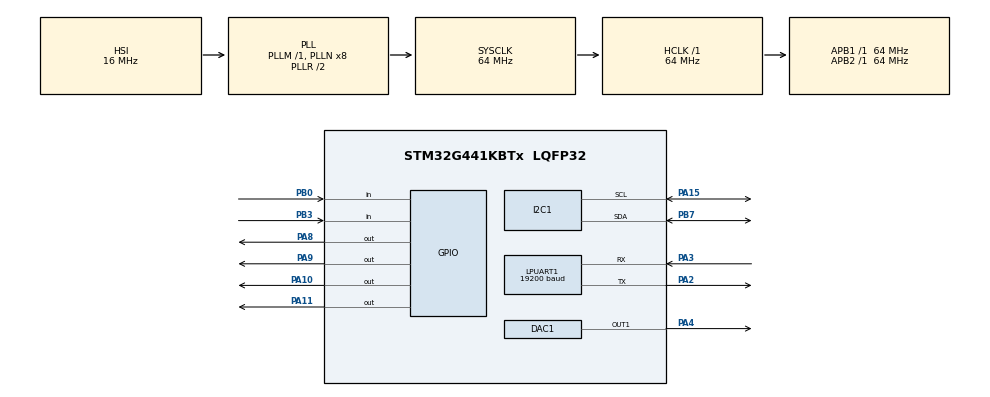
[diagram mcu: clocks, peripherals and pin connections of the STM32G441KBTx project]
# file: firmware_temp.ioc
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DAC1.DAC_HighFrequency_OUT1-DAC_OUT1=DAC_HIGH_FREQUENCY_INTERFACE_MODE_DISABLE
I2C1.Timing=0x10707DBC
LPUART1.BaudRate=19200
Mcu.Family=STM32G4
Mcu.Name=STM32G441KBTx
Mcu.Package=LQFP32
NVIC.PriorityGroup=NVIC_PRIORITYGROUP_4
NVIC.TIM2_IRQn=true\:0\:0\:false\:false\:true\:true\:true\:true
NVIC.TIM4_IRQn=true\:0\:0\:false\:false\:true\:true\:true\:true
NVIC.TIM7_IRQn=true\:0\:0\:false\:false\:true\:true\:true\:true
PA10.Signal=GPIO_Output
PA11.Signal=GPIO_Output
PA15.GPIO_Pu=GPIO_PULLUP
PA15.Mode=I2C
PA15.Signal=I2C1_SCL
PA2.GPIO_PuPd=GPIO_PULLUP
PA2.Mode=Asynchronous
PA2.Signal=LPUART1_TX
PA3.GPIO_PuPd=GPIO_PULLUP
PA3.Mode=Asynchronous
PA3.Signal=LPUART1_RX
PA4.Signal=COMP_DAC11_group
PA8.Signal=GPIO_Output
PA9.Signal=GPIO_Output
PB0.Signal=GPIO_Input
PB3.Signal=GPIO_Input
PB7.GPIO_Pu=GPIO_PULLUP
PB7.Mode=I2C
PB7.Signal=I2C1_SDA
ProjectManager.HeapSize=0x200
ProjectManager.StackSize=0x400
ProjectManager.TargetToolchain=STM32CubeIDE
RCC.ADC12Freq_Value=64000000
RCC.AHBFreq_Value=64000000
RCC.APB1Freq_Value=64000000
RCC.APB1TimFreq_Value=64000000
RCC.APB2Freq_Value=64000000
RCC.APB2TimFreq_Value=64000000
RCC.CortexFreq_Value=64000000
RCC.EXTERNAL_CLOCK_VALUE=12288000
RCC.HCLKFreq_Value=64000000
RCC.HSE_VALUE=8000000
RCC.HSI48_VALUE=48000000
RCC.HSI_VALUE=16000000
RCC.LSE_VALUE=32768
RCC.SYSCLKFreq_VALUE=64000000
RCC.SYSCLKSource=RCC_SYSCLKSOURCE_PLLCLK
RCC.USBFreq_Value=64000000
RCC.VCOOutputFreq_Value=128000000
SH.COMP_DAC11_group.0=DAC1_OUT1,DAC_OUT1
TIM2.CounterMode=TIM_COUNTERMODE_UP
TIM2.PeriodNoDither=255
TIM2.Prescaler=1
TIM2.TIM_MasterOutputTrigger=TIM_TRGO_UPDATE
TIM4.PeriodNoDither=7500
TIM4.Prescaler=1000
TIM7.PeriodNoDither=7200
TIM7.Prescaler=1000
VP_TIM2_VS_ClockSourceINT.Mode=Internal
VP_TIM4_VS_ClockSourceINT.Mode=Internal
VP_TIM7_VS_ClockSourceINT.Mode=Enable_Timer
board=custom

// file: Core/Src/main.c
/* USER CODE BEGIN Header */
/**
  ******************************************************************************
  * @file           : main.c
  * @brief          : Main program body
  ******************************************************************************
  * @attention
  *
  * Copyright (c) 2023 STMicroelectronics.
  * All rights reserved.
  *
  * This software is licensed under terms that can be found in the LICENSE file
  * in the root directory of this software component.
  * If no LICENSE file comes with this software, it is provided AS-IS.
  *
  ******************************************************************************
  */
/* USER CODE END Header */
#include "main.h"

/* USER CODE BEGIN Includes */
#include "accelerometer.h"
#include <stdio.h>
#include <math.h>
/* USER CODE END Includes */

/* USER CODE BEGIN PD */
//SINE WAVE START
#define PI 3.14159f
#define F_SAMPLE			50000.0f
#define F_OUT				1000.0f
//SINE WAVE END

/* USER CODE END PD */

DAC_HandleTypeDef hdac1;

I2C_HandleTypeDef hi2c1;

UART_HandleTypeDef hlpuart1;

TIM_HandleTypeDef htim2;
TIM_HandleTypeDef htim4;
TIM_HandleTypeDef htim7;

/* USER CODE BEGIN PV */
static volatile struct accelerometer_t xl_r = {.slave_r_addr = ACC0_R_ADDR, .slave_w_addr = ACC0_W_ADDR, .irq_pin = GPIO_PIN_0};
static volatile struct accelerometer_t xl_l = {.slave_r_addr = ACC1_R_ADDR, .slave_w_addr = ACC1_W_ADDR, .irq_pin = GPIO_PIN_1};
static volatile HAL_StatusTypeDef status;

/* USER CODE END PV */

void SystemClock_Config(void);
static void MX_GPIO_Init(void);
static void MX_DAC1_Init(void);
static void MX_I2C1_Init(void);
static void MX_LPUART1_UART_Init(void);
static void MX_TIM2_Init(void);
static void MX_TIM7_Init(void);
static void MX_TIM4_Init(void);
/* USER CODE BEGIN PFP */
//SINE WAVE START
float mySinVal;
float offset;
float sample_dt;
uint16_t sample_N;
uint16_t i_t;
uint32_t myDacVal;
//SINE WAVE END

/* USER CODE END PFP */

/* USER CODE BEGIN 0 */
static volatile HAL_StatusTypeDef status;

int _write(int fd, char* ptr, int len) {
  HAL_UART_Transmit(&hlpuart1, (uint8_t *) ptr, len, HAL_MAX_DELAY);
  return len;
}
volatile int allow_hit_r;
volatile int allow_hit_l;
/* USER CODE END 0 */

int main(void)
{
  /* USER CODE BEGIN 1 */
	//SINE WAVE START
//	sample_dt = F_OUT/F_SAMPLE;
//	sample_N = F_SAMPLE/F_OUT;
	//SINE WAVE END
  /* USER CODE END 1 */

  /* MCU Configuration--------------------------------------------------------*/

  /* Reset of all peripherals, Initializes the Flash interface and the Systick. */
  HAL_Init();

  /* Configure the system clock */
  SystemClock_Config();

  /* Initialize all configured peripherals */
  MX_GPIO_Init();
  MX_DAC1_Init();
  MX_I2C1_Init();
  MX_LPUART1_UART_Init();
  MX_TIM2_Init();
  MX_TIM7_Init();
  MX_TIM4_Init();
  /* USER CODE BEGIN 2 */
  //SINE WAVE START
  HAL_DAC_Start(&hdac1,DAC_CHANNEL_1);
  //SINE WAVE END

//  HAL_TIM_Base_Start_IT(&htim2);

  uint8_t status_mlc1;
  uint16_t timer_val;

  acc_init(&xl_l);
  acc_init(&xl_r);

  HAL_GPIO_WritePin(GPIOA, GPIO_PIN_8, GPIO_PIN_RESET);
  HAL_GPIO_WritePin(GPIOA, GPIO_PIN_9, GPIO_PIN_RESET);
  HAL_GPIO_WritePin(GPIOA, GPIO_PIN_10, GPIO_PIN_RESET);
  HAL_GPIO_WritePin(GPIOA, GPIO_PIN_11, GPIO_PIN_RESET);

  status = accelerometer_read(&xl_r, WHO_AM_I, &status_mlc1);
  printf("ID: %d\r\n",status_mlc1);

  if (status != HAL_OK) printf("init error\r\n");
  allow_hit_r = 1;
  allow_hit_l = 1;

//  HAL_TIM_Base_Start_IT(&htim2);

  /* USER CODE END 2 */

  /* Infinite loop */
  /* USER CODE BEGIN WHILE */
  while (1)
  {

	if(xl_r.z_xlr < -0x2000 && allow_hit_r) // hit on right
	{
		if(xl_r.x_xlr < -0x100) // right
		{
			if(xl_r.y_xlr < -0x100) // right-up
			{
				if(allow_hit_r){
					HAL_GPIO_WritePin(GPIOA, GPIO_PIN_9, GPIO_PIN_SET);
				}
				printf("right-up\n\r");
				  HAL_TIM_Base_Start_IT(&htim4);
				allow_hit_r = 0;
			}
			if(xl_r.y_xlr > 0x100) // right-down
			{
				if(allow_hit_r){
					HAL_GPIO_WritePin(GPIOA, GPIO_PIN_8, GPIO_PIN_SET);
				}
				printf("right-down\n\r");
				  HAL_TIM_Base_Start_IT(&htim4);

				allow_hit_r = 0;
			}
		}

		if(xl_r.x_xlr > 0x00) // left
		{
			if(xl_r.y_xlr < 0x000) // left-up
			{
				if(allow_hit_r){
					HAL_GPIO_WritePin(GPIOA, GPIO_PIN_10, GPIO_PIN_SET);
				}
				printf("left-up\n\r");
				  HAL_TIM_Base_Start_IT(&htim4);
				allow_hit_r = 0;
			}
			if(xl_r.y_xlr > 0x100) // left-down
			{
				if(allow_hit_r){
					HAL_GPIO_WritePin(GPIOA, GPIO_PIN_11, GPIO_PIN_SET);
				}
				printf("left-down\n\r");
				  HAL_TIM_Base_Start_IT(&htim4);
				allow_hit_r = 0;
			}
		}
	}

	if(xl_l.z_xlr < -0x2000 && allow_hit_l) // hit on right
	{
		if(xl_l.x_xlr < -0x100) // right
		{
			if(xl_l.y_xlr < -0x100) // right-up
			{
				if(allow_hit_l){
					HAL_GPIO_WritePin(GPIOA, GPIO_PIN_9, GPIO_PIN_SET);
				}
				printf("left right-up\n\r");
				  HAL_TIM_Base_Start_IT(&htim7);
				allow_hit_l = 0;
			}
			if(xl_l.y_xlr > 0x100) // right-down
			{
				if(allow_hit_l){
					HAL_GPIO_WritePin(GPIOA, GPIO_PIN_8, GPIO_PIN_SET);
				}
				printf("left right-down\n\r");
				  HAL_TIM_Base_Start_IT(&htim7);
				allow_hit_l = 0;
			}
		}

		if(xl_l.x_xlr > 0x00) // left
		{
			if(xl_l.y_xlr < 0x0000) // left-up
			{
				if(allow_hit_l){
					HAL_GPIO_WritePin(GPIOA, GPIO_PIN_10, GPIO_PIN_SET);
				}
				printf("left left-up\n\r");
				  HAL_TIM_Base_Start_IT(&htim7);
				allow_hit_l = 0;
			}
			if(xl_l.y_xlr > 0x100) // left-down
			{
				if(allow_hit_l){
					HAL_GPIO_WritePin(GPIOA, GPIO_PIN_11, GPIO_PIN_SET);
				}
				printf("left left-down\n\r");
				  HAL_TIM_Base_Start_IT(&htim7);
				allow_hit_l = 0;

			}
		}
	}

	status = read_axis(&xl_r, ALL_AXIS);
	status = read_axis(&xl_l, ALL_AXIS);

//	printf("%d",xl_r.y_xlr);
//	printf("%d",xl_l.y_xlr);
//
//
//
//	  status = HAL_I2C_Mem_Read(&hi2c1, xl_r.slave_r_addr, OUTX_H_A, I2C_MEMADD_SIZE_8BIT, read_buffer, sizeof(read_buffer), HAL_MAX_DELAY);
//	  xl_r.x_xlr = *read_buffer << 8;
//	  status = HAL_I2C_Mem_Read(&hi2c1, xl_r.slave_r_addr, OUTX_L_A, I2C_MEMADD_SIZE_8BIT, read_buffer, sizeof(read_buffer), HAL_MAX_DELAY);
//	  xl_r.x_xlr = xl_r.x_xlr + *read_buffer;
//	  status = HAL_I2C_Mem_Read(&hi2c1, xl_r.slave_r_addr, OUTY_H_A, I2C_MEMADD_SIZE_8BIT, read_buffer, sizeof(read_buffer), HAL_MAX_DELAY);
//	  xl_r.y_xlr = *read_buffer << 8;
//	  status = HAL_I2C_Mem_Read(&hi2c1, xl_r.slave_r_addr, OUTY_L_A, I2C_MEMADD_SIZE_8BIT, read_buffer, sizeof(read_buffer), HAL_MAX_DELAY);
//	  xl_r.y_xlr = xl_r.y_xlr + *read_buffer;
//	  status = HAL_I2C_Mem_Read(&hi2c1, xl_r.slave_r_addr, OUTZ_H_A, I2C_MEMADD_SIZE_8BIT, read_buffer, sizeof(read_buffer), HAL_MAX_DELAY);
//	  xl_r.z_xlr = *read_buffer << 8;
//	  status = HAL_I2C_Mem_Read(&hi2c1, xl_r.slave_r_addr, OUTZ_L_A, I2C_MEMADD_SIZE_8BIT, read_buffer, sizeof(read_buffer), HAL_MAX_DELAY);
//	  xl_r.z_xlr = xl_r.z_xlr + *read_buffer;
//
//	  status = HAL_I2C_Mem_Read(&hi2c1, xl_l.slave_r_addr, OUTX_H_A, I2C_MEMADD_SIZE_8BIT, read_buffer, sizeof(read_buffer), HAL_MAX_DELAY);
//	  xl_l.x_xlr = *read_buffer << 8;
//	  status = HAL_I2C_Mem_Read(&hi2c1, xl_l.slave_r_addr, OUTX_L_A, I2C_MEMADD_SIZE_8BIT, read_buffer, sizeof(read_buffer), HAL_MAX_DELAY);
//	  xl_l.x_xlr = xl_l.x_xlr + *read_buffer;
//	  status = HAL_I2C_Mem_Read(&hi2c1, xl_l.slave_r_addr, OUTY_H_A, I2C_MEMADD_SIZE_8BIT, read_buffer, sizeof(read_buffer), HAL_MAX_DELAY);
//	  xl_l.y_xlr = *read_buffer << 8;
//	  status = HAL_I2C_Mem_Read(&hi2c1, xl_l.slave_r_addr, OUTY_L_A, I2C_MEMADD_SIZE_8BIT, read_buffer, sizeof(read_buffer), HAL_MAX_DELAY);
//	  xl_l.y_xlr = xl_l.y_xlr + *read_buffer;
//	  status = HAL_I2C_Mem_Read(&hi2c1, xl_l.slave_r_addr, OUTZ_H_A, I2C_MEMADD_SIZE_8BIT, read_buffer, sizeof(read_buffer), HAL_MAX_DELAY);
//	  xl_l.z_xlr = *read_buffer << 8;
//	  status = HAL_I2C_Mem_Read(&hi2c1, xl_l.slave_r_addr, OUTZ_L_A, I2C_MEMADD_SIZE_8BIT, read_buffer, sizeof(read_buffer), HAL_MAX_DELAY);
//	  xl_l.z_xlr = xl_l.z_xlr + *read_buffer;

    /* USER CODE END WHILE */

  }
}

void SystemClock_Config(void)
{
  RCC_OscInitTypeDef RCC_OscInitStruct = {0};
  RCC_ClkInitTypeDef RCC_ClkInitStruct = {0};

  /** Configure the main internal regulator output voltage
  */
  HAL_PWREx_ControlVoltageScaling(PWR_REGULATOR_VOLTAGE_SCALE1);

  /** Initializes the RCC Oscillators according to the specified parameters
  * in the RCC_OscInitTypeDef structure.
  */
  RCC_OscInitStruct.OscillatorType = RCC_OSCILLATORTYPE_HSI;
  RCC_OscInitStruct.HSIState = RCC_HSI_ON;
  RCC_OscInitStruct.HSICalibrationValue = RCC_HSICALIBRATION_DEFAULT;
  RCC_OscInitStruct.PLL.PLLState = RCC_PLL_ON;
  RCC_OscInitStruct.PLL.PLLSource = RCC_PLLSOURCE_HSI;
  RCC_OscInitStruct.PLL.PLLM = RCC_PLLM_DIV1;
  RCC_OscInitStruct.PLL.PLLN = 8;
  RCC_OscInitStruct.PLL.PLLP = RCC_PLLP_DIV2;
  RCC_OscInitStruct.PLL.PLLQ = RCC_PLLQ_DIV2;
  RCC_OscInitStruct.PLL.PLLR = RCC_PLLR_DIV2;
  if (HAL_RCC_OscConfig(&RCC_OscInitStruct) != HAL_OK)
  {
    Error_Handler();
  }

  /** Initializes the CPU, AHB and APB buses clocks
  */
  RCC_ClkInitStruct.ClockType = RCC_CLOCKTYPE_HCLK|RCC_CLOCKTYPE_SYSCLK
                              |RCC_CLOCKTYPE_PCLK1|RCC_CLOCKTYPE_PCLK2;
  RCC_ClkInitStruct.SYSCLKSource = RCC_SYSCLKSOURCE_PLLCLK;
  RCC_ClkInitStruct.AHBCLKDivider = RCC_SYSCLK_DIV1;
  RCC_ClkInitStruct.APB1CLKDivider = RCC_HCLK_DIV1;
  RCC_ClkInitStruct.APB2CLKDivider = RCC_HCLK_DIV1;

  if (HAL_RCC_ClockConfig(&RCC_ClkInitStruct, FLASH_LATENCY_2) != HAL_OK)
  {
    Error_Handler();
  }
}

static void MX_DAC1_Init(void)
{

  DAC_ChannelConfTypeDef sConfig = {0};

  /** DAC Initialization
  */
  hdac1.Instance = DAC1;
  if (HAL_DAC_Init(&hdac1) != HAL_OK)
  {
    Error_Handler();
  }

  /** DAC channel OUT1 config
  */
  sConfig.DAC_HighFrequency = DAC_HIGH_FREQUENCY_INTERFACE_MODE_DISABLE;
  sConfig.DAC_DMADoubleDataMode = DISABLE;
  sConfig.DAC_SignedFormat = DISABLE;
  sConfig.DAC_SampleAndHold = DAC_SAMPLEANDHOLD_DISABLE;
  sConfig.DAC_Trigger = DAC_TRIGGER_NONE;
  sConfig.DAC_Trigger2 = DAC_TRIGGER_NONE;
  sConfig.DAC_OutputBuffer = DAC_OUTPUTBUFFER_ENABLE;
  sConfig.DAC_ConnectOnChipPeripheral = DAC_CHIPCONNECT_EXTERNAL;
  sConfig.DAC_UserTrimming = DAC_TRIMMING_FACTORY;
  if (HAL_DAC_ConfigChannel(&hdac1, &sConfig, DAC_CHANNEL_1) != HAL_OK)
  {
    Error_Handler();
  }

}

static void MX_I2C1_Init(void)
{

  hi2c1.Instance = I2C1;
  hi2c1.Init.Timing = 0x10707DBC;
  hi2c1.Init.OwnAddress1 = 0;
  hi2c1.Init.AddressingMode = I2C_ADDRESSINGMODE_7BIT;
  hi2c1.Init.DualAddressMode = I2C_DUALADDRESS_DISABLE;
  hi2c1.Init.OwnAddress2 = 0;
  hi2c1.Init.OwnAddress2Masks = I2C_OA2_NOMASK;
  hi2c1.Init.GeneralCallMode = I2C_GENERALCALL_DISABLE;
  hi2c1.Init.NoStretchMode = I2C_NOSTRETCH_DISABLE;
  if (HAL_I2C_Init(&hi2c1) != HAL_OK)
  {
    Error_Handler();
  }

  /** Configure Analogue filter
  */
  if (HAL_I2CEx_ConfigAnalogFilter(&hi2c1, I2C_ANALOGFILTER_ENABLE) != HAL_OK)
  {
    Error_Handler();
  }

  /** Configure Digital filter
  */
  if (HAL_I2CEx_ConfigDigitalFilter(&hi2c1, 0) != HAL_OK)
  {
    Error_Handler();
  }

}

static void MX_LPUART1_UART_Init(void)
{

  hlpuart1.Instance = LPUART1;
  hlpuart1.Init.BaudRate = 19200;
  hlpuart1.Init.WordLength = UART_WORDLENGTH_8B;
  hlpuart1.Init.StopBits = UART_STOPBITS_1;
  hlpuart1.Init.Parity = UART_PARITY_NONE;
  hlpuart1.Init.Mode = UART_MODE_TX_RX;
  hlpuart1.Init.HwFlowCtl = UART_HWCONTROL_NONE;
  hlpuart1.Init.OneBitSampling = UART_ONE_BIT_SAMPLE_DISABLE;
  hlpuart1.Init.ClockPrescaler = UART_PRESCALER_DIV1;
  hlpuart1.AdvancedInit.AdvFeatureInit = UART_ADVFEATURE_NO_INIT;
  if (HAL_UART_Init(&hlpuart1) != HAL_OK)
  {
    Error_Handler();
  }
  if (HAL_UARTEx_SetTxFifoThreshold(&hlpuart1, UART_TXFIFO_THRESHOLD_1_8) != HAL_OK)
  {
    Error_Handler();
  }
  if (HAL_UARTEx_SetRxFifoThreshold(&hlpuart1, UART_RXFIFO_THRESHOLD_1_8) != HAL_OK)
  {
    Error_Handler();
  }
  if (HAL_UARTEx_DisableFifoMode(&hlpuart1) != HAL_OK)
  {
    Error_Handler();
  }

}

static void MX_TIM2_Init(void)
{

  TIM_ClockConfigTypeDef sClockSourceConfig = {0};
  TIM_MasterConfigTypeDef sMasterConfig = {0};

  htim2.Instance = TIM2;
  htim2.Init.Prescaler = 1;
  htim2.Init.CounterMode = TIM_COUNTERMODE_UP;
  htim2.Init.Period = 255;
  htim2.Init.ClockDivision = TIM_CLOCKDIVISION_DIV1;
  htim2.Init.AutoReloadPreload = TIM_AUTORELOAD_PRELOAD_DISABLE;
  if (HAL_TIM_Base_Init(&htim2) != HAL_OK)
  {
    Error_Handler();
  }
  sClockSourceConfig.ClockSource = TIM_CLOCKSOURCE_INTERNAL;
  if (HAL_TIM_ConfigClockSource(&htim2, &sClockSourceConfig) != HAL_OK)
  {
    Error_Handler();
  }
  sMasterConfig.MasterOutputTrigger = TIM_TRGO_UPDATE;
  sMasterConfig.MasterSlaveMode = TIM_MASTERSLAVEMODE_DISABLE;
  if (HAL_TIMEx_MasterConfigSynchronization(&htim2, &sMasterConfig) != HAL_OK)
  {
    Error_Handler();
  }

}

static void MX_TIM4_Init(void)
{

  TIM_ClockConfigTypeDef sClockSourceConfig = {0};
  TIM_MasterConfigTypeDef sMasterConfig = {0};

  htim4.Instance = TIM4;
  htim4.Init.Prescaler = 1000;
  htim4.Init.CounterMode = TIM_COUNTERMODE_UP;
  htim4.Init.Period = 7500;
  htim4.Init.ClockDivision = TIM_CLOCKDIVISION_DIV1;
  htim4.Init.AutoReloadPreload = TIM_AUTORELOAD_PRELOAD_DISABLE;
  if (HAL_TIM_Base_Init(&htim4) != HAL_OK)
  {
    Error_Handler();
  }
  sClockSourceConfig.ClockSource = TIM_CLOCKSOURCE_INTERNAL;
  if (HAL_TIM_ConfigClockSource(&htim4, &sClockSourceConfig) != HAL_OK)
  {
    Error_Handler();
  }
  sMasterConfig.MasterOutputTrigger = TIM_TRGO_RESET;
  sMasterConfig.MasterSlaveMode = TIM_MASTERSLAVEMODE_DISABLE;
  if (HAL_TIMEx_MasterConfigSynchronization(&htim4, &sMasterConfig) != HAL_OK)
  {
    Error_Handler();
  }

}

static void MX_TIM7_Init(void)
{

  TIM_MasterConfigTypeDef sMasterConfig = {0};

  htim7.Instance = TIM7;
  htim7.Init.Prescaler = 1000;
  htim7.Init.CounterMode = TIM_COUNTERMODE_UP;
  htim7.Init.Period = 7200;
  htim7.Init.AutoReloadPreload = TIM_AUTORELOAD_PRELOAD_DISABLE;
  if (HAL_TIM_Base_Init(&htim7) != HAL_OK)
  {
    Error_Handler();
  }
  sMasterConfig.MasterOutputTrigger = TIM_TRGO_RESET;
  sMasterConfig.MasterSlaveMode = TIM_MASTERSLAVEMODE_DISABLE;
  if (HAL_TIMEx_MasterConfigSynchronization(&htim7, &sMasterConfig) != HAL_OK)
  {
    Error_Handler();
  }

}

static void MX_GPIO_Init(void)
{
  GPIO_InitTypeDef GPIO_InitStruct = {0};

  /* GPIO Ports Clock Enable */
  __HAL_RCC_GPIOA_CLK_ENABLE();
  __HAL_RCC_GPIOB_CLK_ENABLE();

  /*Configure GPIO pin Output Level */
  HAL_GPIO_WritePin(GPIOA, GPIO_PIN_8|GPIO_PIN_9|GPIO_PIN_10|GPIO_PIN_11, GPIO_PIN_RESET);

  /*Configure GPIO pins : PB0 PB3 */
  GPIO_InitStruct.Pin = GPIO_PIN_0|GPIO_PIN_3;
  GPIO_InitStruct.Mode = GPIO_MODE_INPUT;
  GPIO_InitStruct.Pull = GPIO_NOPULL;
  HAL_GPIO_Init(GPIOB, &GPIO_InitStruct);

  /*Configure GPIO pins : PA8 PA9 PA10 PA11 */
  GPIO_InitStruct.Pin = GPIO_PIN_8|GPIO_PIN_9|GPIO_PIN_10|GPIO_PIN_11;
  GPIO_InitStruct.Mode = GPIO_MODE_OUTPUT_PP;
  GPIO_InitStruct.Pull = GPIO_NOPULL;
  GPIO_InitStruct.Speed = GPIO_SPEED_FREQ_LOW;
  HAL_GPIO_Init(GPIOA, &GPIO_InitStruct);

}

/* USER CODE BEGIN 4 */
/**
  * @brief Timer Callback function
  * @param htim - the timer that triggered the callback
  * @retval None
  */
void HAL_TIM_PeriodElapsedCallback(TIM_HandleTypeDef *htim)
{

	UNUSED(htim); //test

  uint8_t msg[25] = "test\n";

//   Check which version of the timer triggered this callback and toggle LED
  if (htim == &htim7)
  {
//	  printf("hit 4 \r\n");
	  allow_hit_l = 1;

		HAL_GPIO_WritePin(GPIOA, GPIO_PIN_8, GPIO_PIN_RESET);
		HAL_GPIO_WritePin(GPIOA, GPIO_PIN_9, GPIO_PIN_RESET);
		HAL_GPIO_WritePin(GPIOA, GPIO_PIN_10, GPIO_PIN_RESET);
		HAL_GPIO_WritePin(GPIOA, GPIO_PIN_11, GPIO_PIN_RESET);
  }
  if (htim == &htim4)
  {
//	  printf("hit 4 \r\n");
	  allow_hit_r = 1;
		HAL_GPIO_WritePin(GPIOA, GPIO_PIN_8, GPIO_PIN_RESET);
		HAL_GPIO_WritePin(GPIOA, GPIO_PIN_9, GPIO_PIN_RESET);
		HAL_GPIO_WritePin(GPIOA, GPIO_PIN_10, GPIO_PIN_RESET);
		HAL_GPIO_WritePin(GPIOA, GPIO_PIN_11, GPIO_PIN_RESET);
  }

  // Check which version of the timer triggered this callback and toggle LED
  if (htim == &htim2)
//  if(htim->Instance == TIM2) //trying this
  {
	  HAL_GPIO_WritePin(GPIOA, GPIO_PIN_8, GPIO_PIN_SET);

	  //SINE WAVE START
	  mySinVal = sinf(i_t * 2 * PI * sample_dt);//Convert from float to decimal
	  myDacVal = (mySinVal + 1)*127; //Output the sample to the STM DAC
	  offset = myDacVal - 127;
//	  printf("%d\r\n",myDacVal);
	  HAL_DAC_SetValue(&hdac1, DAC_CHANNEL_1, DAC_ALIGN_8B_R, myDacVal);
	  i_t++;
	  if(i_t>= sample_N) i_t = 0;
	  //SINE WAVE END
//	  printf("sound");
	  	  allow_hit_l = 1;
	  	  allow_hit_r = 1;

  }

}
/* USER CODE END 4 */

void Error_Handler(void)
{
  __disable_irq();
  while (1)
  {
  }
}
